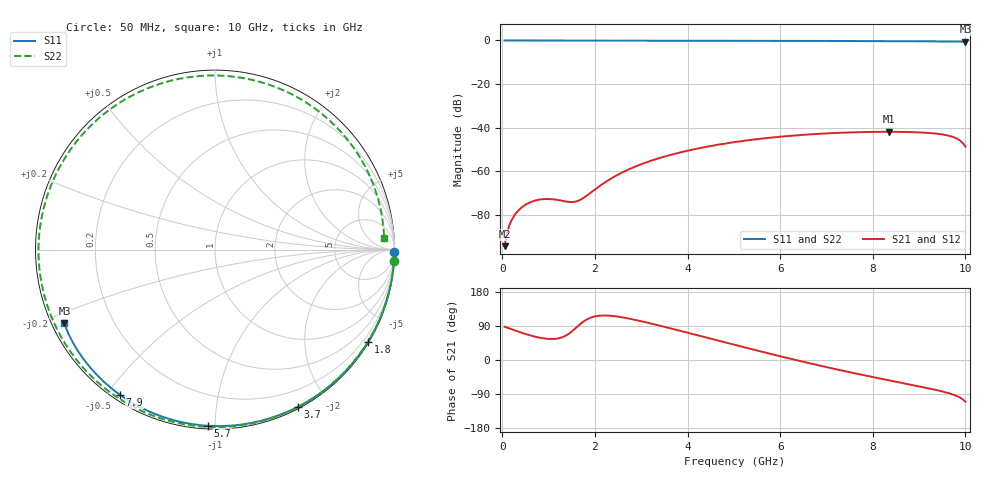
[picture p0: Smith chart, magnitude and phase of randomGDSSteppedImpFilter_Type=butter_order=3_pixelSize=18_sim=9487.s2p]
! freq	dB(S11)	phase(S11)	dB(S12)	phase(S12)
!  dB(S21)	phase(S21)	dB(S22)	phase(S22)
!S-par simulation data
#  GHz  S  DB  R 50
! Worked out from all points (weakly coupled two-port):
!   200 points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, 50 MHz to 10 GHz, reference 50 ohm
!   highest |S21| = -41.85 dB at 8.35 GHz (marker M1); lowest = -94.3 dB at 50 MHz (marker M2)
!   lowest |S11| = -0.6 dB at 10 GHz (marker M3), VSWR 28.93, Z = 1.82 - j11.5 ohm
!   |S11| at or under -10 dB: nowhere
!   |S22| runs from -0.5 to 0.0 dB; largest |S21 - S12| = 0
!   S11 on the Smith chart (normalised r, x): 50 MHz: open; 1.8 GHz: 0.03, -3.60; 3.7 GHz: 0.02, -1.66; 5.7 GHz: 0.02, -0.96; 7.9 GHz: 0.02, -0.54; 10 GHz: 0.04, -0.23
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0.05  -0.00 -0.9  -94.25 87.8  -94.25 87.8  -0.00 -3.7
0.25  -0.01 -4.4  -80.52 79.0  -80.52 79.0  -0.03 -18.2
0.45  -0.01 -7.9  -76.01 70.7  -76.01 70.7  -0.04 -32.4
0.65  -0.01 -11.3  -73.76 63.4  -73.76 63.4  -0.06 -46.1
0.9  -0.02 -15.7  -72.67 56.9  -72.67 56.9  -0.07 -62.3
1.2  -0.03 -20.8  -73.10 56.8  -73.10 56.8  -0.09 -80.2
1.5  -0.03 -26.0  -74.03 75.1  -74.03 75.1  -0.10 -96.4
1.75  -0.04 -30.2  -72.19 101.1  -72.19 101.1  -0.11 -108.8
1.8  -0.04 -31.0  -71.48 105.2  -71.48 105.2  -0.11 -111.1
2.55  -0.06 -43.5  -60.92 113.4  -60.92 113.4  -0.12 -142.1
3.4  -0.08 -57.3  -53.85 90.6  -53.85 90.6  -0.14 -170.8
3.7  -0.08 -62.1  -52.06 81.4  -52.06 81.4  -0.15 -179.9
4.35  -0.10 -72.2  -48.96 61.0  -48.96 61.0  -0.16 161.5
5.05  -0.13 -82.7  -46.48 39.0  -46.48 39.0  -0.19 142.4
5.7  -0.15 -92.3  -44.75 19.0  -44.75 19.0  -0.21 125.0
6.7  -0.21 -106.5  -42.95 -10.4  -42.95 -10.4  -0.25 98.1
7.3  -0.25 -114.9  -42.30 -26.9  -42.30 -26.9  -0.28 81.6
7.9  -0.29 -123.1  -41.93 -42.5  -41.93 -42.5  -0.31 64.7
8.35  -0.33 -129.3  -41.85 -53.6  -41.85 -53.6  -0.33 51.8
9.55  -0.48 -146.5  -43.23 -84.5  -43.23 -84.5  -0.43 17.0
9.85  -0.54 -151.3  -45.36 -97.1  -45.36 -97.1  -0.47 8.4
10  -0.60 -154.0  -48.62 -109.9  -48.62 -109.9  -0.50 4.0
